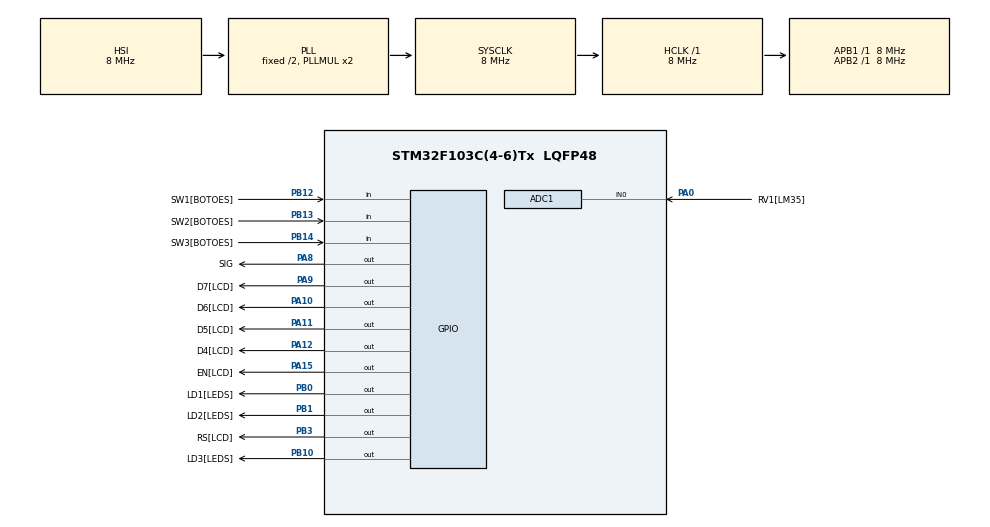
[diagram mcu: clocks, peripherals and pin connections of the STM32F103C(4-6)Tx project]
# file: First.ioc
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ADC1.Channel-5\#ChannelRegularConversion=ADC_CHANNEL_0
ADC1.NbrOfConversionFlag=1
ADC1.Rank-5\#ChannelRegularConversion=1
ADC1.SamplingTime-5\#ChannelRegularConversion=ADC_SAMPLETIME_1CYCLE_5
ADC1.master=1
Mcu.Family=STM32F1
Mcu.Name=STM32F103C(4-6)Tx
Mcu.Package=LQFP48
NVIC.PriorityGroup=NVIC_PRIORITYGROUP_4
PA0-WKUP.GPIO_Label=RV1[LM35]
PA0-WKUP.Signal=ADCx_IN0
PA10.GPIO_Label=D6[LCD]
PA10.Signal=GPIO_Output
PA11.GPIO_Label=D5[LCD]
PA11.Signal=GPIO_Output
PA12.GPIO_Label=D4[LCD]
PA12.Signal=GPIO_Output
PA13.Mode=Serial_Wire
PA13.Signal=SYS_JTMS-SWDIO
PA14.Mode=Serial_Wire
PA14.Signal=SYS_JTCK-SWCLK
PA15.GPIO_Label=EN[LCD]
PA15.Signal=GPIO_Output
PA8.GPIO_Label=SIG
PA8.Signal=GPIO_Output
PA9.GPIO_Label=D7[LCD]
PA9.Signal=GPIO_Output
PB0.GPIO_Label=LD1[LEDS]
PB0.Signal=GPIO_Output
PB1.GPIO_Label=LD2[LEDS]
PB1.Signal=GPIO_Output
PB10.GPIO_Label=LD3[LEDS]
PB10.Signal=GPIO_Output
PB12.GPIO_Label=SW1[BOTOES]
PB12.GPIO_PuPd=GPIO_PULLUP
PB12.Signal=GPIO_Input
PB13.GPIO_Label=SW2[BOTOES]
PB13.GPIO_PuPd=GPIO_PULLUP
PB13.Signal=GPIO_Input
PB14.GPIO_Label=SW3[BOTOES]
PB14.GPIO_PuPd=GPIO_PULLUP
PB14.Signal=GPIO_Input
PB3.GPIO_Label=RS[LCD]
PB3.Signal=GPIO_Output
ProjectManager.HeapSize=0x200
ProjectManager.StackSize=0x400
ProjectManager.TargetToolchain=TrueSTUDIO
RCC.AHBFreq_Value=8000000
RCC.APB1Freq_Value=8000000
RCC.APB1TimFreq_Value=8000000
RCC.APB2Freq_Value=8000000
RCC.APB2TimFreq_Value=8000000
RCC.HCLKFreq_Value=8000000
RCC.SYSCLKFreq_VALUE=8000000
RCC.SYSCLKSource=RCC_SYSCLKSOURCE_PLLCLK
RCC.USBFreq_Value=8000000
SH.ADCx_IN0.0=ADC1_IN0,IN0
TIM2.Period=499
TIM2.Prescaler=399
VP_TIM2_VS_ClockSourceINT.Mode=Internal
board=First

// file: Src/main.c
/**
  ******************************************************************************
  * @file           : main.c
  * @brief          : Main program body
  ******************************************************************************
  ** This notice applies to any and all portions of this file
  * that are not between comment pairs USER CODE BEGIN and
  * USER CODE END. Other portions of this file, whether
  * inserted by the user or by software development tools
  * are owned by their respective copyright owners.
  *
  * COPYRIGHT(c) 2018 STMicroelectronics
  *
  * Redistribution and use in source and binary forms, with or without modification,
  * are permitted provided that the following conditions are met:
  *   1. Redistributions of source code must retain the above copyright notice,
  *      this list of conditions and the following disclaimer.
  *   2. Redistributions in binary form must reproduce the above copyright notice,
  *      this list of conditions and the following disclaimer in the documentation
  *      and/or other materials provided with the distribution.
  *   3. Neither the name of STMicroelectronics nor the names of its contributors
  *      may be used to endorse or promote products derived from this software
  *      without specific prior written permission.
  *
  * THIS SOFTWARE IS PROVIDED BY THE COPYRIGHT HOLDERS AND CONTRIBUTORS "AS IS"
  * AND ANY EXPRESS OR IMPLIED WARRANTIES, INCLUDING, BUT NOT LIMITED TO, THE
  * IMPLIED WARRANTIES OF MERCHANTABILITY AND FITNESS FOR A PARTICULAR PURPOSE ARE
  * DISCLAIMED. IN NO EVENT SHALL THE COPYRIGHT HOLDER OR CONTRIBUTORS BE LIABLE
  * FOR ANY DIRECT, INDIRECT, INCIDENTAL, SPECIAL, EXEMPLARY, OR CONSEQUENTIAL
  * DAMAGES (INCLUDING, BUT NOT LIMITED TO, PROCUREMENT OF SUBSTITUTE GOODS OR
  * SERVICES; LOSS OF USE, DATA, OR PROFITS; OR BUSINESS INTERRUPTION) HOWEVER
  * CAUSED AND ON ANY THEORY OF LIABILITY, WHETHER IN CONTRACT, STRICT LIABILITY,
  * OR TORT (INCLUDING NEGLIGENCE OR OTHERWISE) ARISING IN ANY WAY OUT OF THE USE
  * OF THIS SOFTWARE, EVEN IF ADVISED OF THE POSSIBILITY OF SUCH DAMAGE.
  *
  ******************************************************************************
  */
#include "main.h"
#include "stm32f1xx_hal.h"

/* USER CODE BEGIN Includes */

#include "stdio.h"

/* USER CODE END Includes */

ADC_HandleTypeDef hadc1;

TIM_HandleTypeDef htim2;

/* USER CODE BEGIN PV */
/* Private variables ---------------------------------------------------------*/

/* USER CODE END PV */

void SystemClock_Config(void);
static void MX_GPIO_Init(void);
static void MX_ADC1_Init(void);
static void MX_TIM2_Init(void);

/* USER CODE BEGIN PFP */
/* Private function prototypes -----------------------------------------------*/

/* USER CODE END PFP */

/* USER CODE BEGIN 0 */

void write_lcd (uint8_t data, uint8_t cmd_data)
{
	// identifica comando ou dado
	if (cmd_data) HAL_GPIO_WritePin(RS_GPIO_Port, RS_Pin, GPIO_PIN_SET);
	else 					HAL_GPIO_WritePin(RS_GPIO_Port, RS_Pin, GPIO_PIN_RESET);

	// 4 bits high
	if (data & 0x80) HAL_GPIO_WritePin (D7_GPIO_Port, D7_Pin, GPIO_PIN_SET);
	else						 HAL_GPIO_WritePin (D7_GPIO_Port, D7_Pin, GPIO_PIN_RESET);
	if (data & 0x40) HAL_GPIO_WritePin (D6_GPIO_Port, D6_Pin, GPIO_PIN_SET);
	else						 HAL_GPIO_WritePin (D6_GPIO_Port, D6_Pin, GPIO_PIN_RESET);
	if (data & 0x20) HAL_GPIO_WritePin (D5_GPIO_Port, D5_Pin, GPIO_PIN_SET);
	else						 HAL_GPIO_WritePin (D5_GPIO_Port, D5_Pin, GPIO_PIN_RESET);
	if (data & 0x10) HAL_GPIO_WritePin (D4_GPIO_Port, D4_Pin, GPIO_PIN_SET);
	else						 HAL_GPIO_WritePin (D4_GPIO_Port, D4_Pin, GPIO_PIN_RESET);

	HAL_GPIO_WritePin(EN_GPIO_Port, EN_Pin, GPIO_PIN_SET);
	HAL_Delay(2);
	HAL_GPIO_WritePin(EN_GPIO_Port, EN_Pin, GPIO_PIN_RESET);

	// 4 bits Low
	if (data & 0x08) HAL_GPIO_WritePin (D7_GPIO_Port, D7_Pin, GPIO_PIN_SET);
	else						 HAL_GPIO_WritePin (D7_GPIO_Port, D7_Pin, GPIO_PIN_RESET);
	if (data & 0x04) HAL_GPIO_WritePin (D6_GPIO_Port, D6_Pin, GPIO_PIN_SET);
	else						 HAL_GPIO_WritePin (D6_GPIO_Port, D6_Pin, GPIO_PIN_RESET);
	if (data & 0x02) HAL_GPIO_WritePin (D5_GPIO_Port, D5_Pin, GPIO_PIN_SET);
	else						 HAL_GPIO_WritePin (D5_GPIO_Port, D5_Pin, GPIO_PIN_RESET);
	if (data & 0x01) HAL_GPIO_WritePin (D4_GPIO_Port, D4_Pin, GPIO_PIN_SET);
	else						 HAL_GPIO_WritePin (D4_GPIO_Port, D4_Pin, GPIO_PIN_RESET);

	HAL_GPIO_WritePin(EN_GPIO_Port, EN_Pin, GPIO_PIN_SET);
	HAL_Delay(2);
	HAL_GPIO_WritePin(EN_GPIO_Port, EN_Pin, GPIO_PIN_RESET);
}

/* init_LCD - Inicializa o display em 4bits */
void init_LCD (void)
{
	write_lcd(0x33, 0);
	write_lcd(0x32, 0);
	write_lcd(0x28, 0);
	write_lcd(0x06, 0);
	write_lcd(0x0C, 0);
	write_lcd(0x01, 0);
}

/* string_lcd - escreve string no LCD */
void string_lcd (char *string)
{
	while(*string) write_lcd(*string++, 1);
}

/* USER CODE END 0 */

int main(void)
{

  /* MCU Configuration----------------------------------------------------------*/

  /* Reset of all peripherals, Initializes the Flash interface and the Systick. */
  HAL_Init();

  /* Configure the system clock */
  SystemClock_Config();

  /* Initialize all configured peripherals */
  MX_GPIO_Init();
  MX_ADC1_Init();
  MX_TIM2_Init();
  /* USER CODE BEGIN 2 */

  write_lcd(0x01,0);
  write_lcd(0x80,0);
  string_lcd("LNNANO");
  write_lcd(0xC0,0);
  string_lcd("DSF");
  HAL_GPIO_WritePin(LD1_GPIO_Port,LD1_Pin, GPIO_PIN_SET);

  /* USER CODE END 2 */

  /* Infinite loop */
  while (1)
  {

  }

}

void SystemClock_Config(void)
{

  RCC_OscInitTypeDef RCC_OscInitStruct;
  RCC_ClkInitTypeDef RCC_ClkInitStruct;
  RCC_PeriphCLKInitTypeDef PeriphClkInit;

    /**Initializes the CPU, AHB and APB busses clocks
    */
  RCC_OscInitStruct.OscillatorType = RCC_OSCILLATORTYPE_HSI;
  RCC_OscInitStruct.HSIState = RCC_HSI_ON;
  RCC_OscInitStruct.HSICalibrationValue = 16;
  RCC_OscInitStruct.PLL.PLLState = RCC_PLL_ON;
  RCC_OscInitStruct.PLL.PLLSource = RCC_PLLSOURCE_HSI_DIV2;
  RCC_OscInitStruct.PLL.PLLMUL = RCC_PLL_MUL2;
  if (HAL_RCC_OscConfig(&RCC_OscInitStruct) != HAL_OK)
  {
    _Error_Handler(__FILE__, __LINE__);
  }

    /**Initializes the CPU, AHB and APB busses clocks
    */
  RCC_ClkInitStruct.ClockType = RCC_CLOCKTYPE_HCLK|RCC_CLOCKTYPE_SYSCLK
                              |RCC_CLOCKTYPE_PCLK1|RCC_CLOCKTYPE_PCLK2;
  RCC_ClkInitStruct.SYSCLKSource = RCC_SYSCLKSOURCE_PLLCLK;
  RCC_ClkInitStruct.AHBCLKDivider = RCC_SYSCLK_DIV1;
  RCC_ClkInitStruct.APB1CLKDivider = RCC_HCLK_DIV1;
  RCC_ClkInitStruct.APB2CLKDivider = RCC_HCLK_DIV1;

  if (HAL_RCC_ClockConfig(&RCC_ClkInitStruct, FLASH_LATENCY_0) != HAL_OK)
  {
    _Error_Handler(__FILE__, __LINE__);
  }

  PeriphClkInit.PeriphClockSelection = RCC_PERIPHCLK_ADC;
  PeriphClkInit.AdcClockSelection = RCC_ADCPCLK2_DIV2;
  if (HAL_RCCEx_PeriphCLKConfig(&PeriphClkInit) != HAL_OK)
  {
    _Error_Handler(__FILE__, __LINE__);
  }

    /**Configure the Systick interrupt time
    */
  HAL_SYSTICK_Config(HAL_RCC_GetHCLKFreq()/1000);

    /**Configure the Systick
    */
  HAL_SYSTICK_CLKSourceConfig(SYSTICK_CLKSOURCE_HCLK);

  /* SysTick_IRQn interrupt configuration */
  HAL_NVIC_SetPriority(SysTick_IRQn, 0, 0);
}

/* ADC1 init function */
static void MX_ADC1_Init(void)
{

  ADC_ChannelConfTypeDef sConfig;

    /**Common config
    */
  hadc1.Instance = ADC1;
  hadc1.Init.ScanConvMode = ADC_SCAN_DISABLE;
  hadc1.Init.ContinuousConvMode = DISABLE;
  hadc1.Init.DiscontinuousConvMode = DISABLE;
  hadc1.Init.ExternalTrigConv = ADC_SOFTWARE_START;
  hadc1.Init.DataAlign = ADC_DATAALIGN_RIGHT;
  hadc1.Init.NbrOfConversion = 1;
  if (HAL_ADC_Init(&hadc1) != HAL_OK)
  {
    _Error_Handler(__FILE__, __LINE__);
  }

    /**Configure Regular Channel
    */
  sConfig.Channel = ADC_CHANNEL_0;
  sConfig.Rank = ADC_REGULAR_RANK_1;
  sConfig.SamplingTime = ADC_SAMPLETIME_1CYCLE_5;
  if (HAL_ADC_ConfigChannel(&hadc1, &sConfig) != HAL_OK)
  {
    _Error_Handler(__FILE__, __LINE__);
  }

}

/* TIM2 init function */
static void MX_TIM2_Init(void)
{

  TIM_ClockConfigTypeDef sClockSourceConfig;
  TIM_MasterConfigTypeDef sMasterConfig;

  htim2.Instance = TIM2;
  htim2.Init.Prescaler = 399;
  htim2.Init.CounterMode = TIM_COUNTERMODE_UP;
  htim2.Init.Period = 499;
  htim2.Init.ClockDivision = TIM_CLOCKDIVISION_DIV1;
  htim2.Init.AutoReloadPreload = TIM_AUTORELOAD_PRELOAD_DISABLE;
  if (HAL_TIM_Base_Init(&htim2) != HAL_OK)
  {
    _Error_Handler(__FILE__, __LINE__);
  }

  sClockSourceConfig.ClockSource = TIM_CLOCKSOURCE_INTERNAL;
  if (HAL_TIM_ConfigClockSource(&htim2, &sClockSourceConfig) != HAL_OK)
  {
    _Error_Handler(__FILE__, __LINE__);
  }

  sMasterConfig.MasterOutputTrigger = TIM_TRGO_RESET;
  sMasterConfig.MasterSlaveMode = TIM_MASTERSLAVEMODE_DISABLE;
  if (HAL_TIMEx_MasterConfigSynchronization(&htim2, &sMasterConfig) != HAL_OK)
  {
    _Error_Handler(__FILE__, __LINE__);
  }

}

/** Configure pins as
        * Analog
        * Input
        * Output
        * EVENT_OUT
        * EXTI
*/
static void MX_GPIO_Init(void)
{

  GPIO_InitTypeDef GPIO_InitStruct;

  /* GPIO Ports Clock Enable */
  __HAL_RCC_GPIOA_CLK_ENABLE();
  __HAL_RCC_GPIOB_CLK_ENABLE();

  /*Configure GPIO pin Output Level */
  HAL_GPIO_WritePin(GPIOB, LD1_Pin|LD2_Pin|LD3_Pin|RS_Pin, GPIO_PIN_RESET);

  /*Configure GPIO pin Output Level */
  HAL_GPIO_WritePin(GPIOA, SIG_Pin|D7_Pin|D6_Pin|D5_Pin
                          |D4_Pin|EN_Pin, GPIO_PIN_RESET);

  /*Configure GPIO pins : LD1_Pin LD2_Pin LD3_Pin RS_Pin */
  GPIO_InitStruct.Pin = LD1_Pin|LD2_Pin|LD3_Pin|RS_Pin;
  GPIO_InitStruct.Mode = GPIO_MODE_OUTPUT_PP;
  GPIO_InitStruct.Speed = GPIO_SPEED_FREQ_LOW;
  HAL_GPIO_Init(GPIOB, &GPIO_InitStruct);

  /*Configure GPIO pins : SW1_Pin SW2_Pin SW3_Pin */
  GPIO_InitStruct.Pin = SW1_Pin|SW2_Pin|SW3_Pin;
  GPIO_InitStruct.Mode = GPIO_MODE_INPUT;
  GPIO_InitStruct.Pull = GPIO_PULLUP;
  HAL_GPIO_Init(GPIOB, &GPIO_InitStruct);

  /*Configure GPIO pins : SIG_Pin D7_Pin D6_Pin D5_Pin
                           D4_Pin EN_Pin */
  GPIO_InitStruct.Pin = SIG_Pin|D7_Pin|D6_Pin|D5_Pin
                          |D4_Pin|EN_Pin;
  GPIO_InitStruct.Mode = GPIO_MODE_OUTPUT_PP;
  GPIO_InitStruct.Speed = GPIO_SPEED_FREQ_LOW;
  HAL_GPIO_Init(GPIOA, &GPIO_InitStruct);

}

void _Error_Handler(char *file, int line)
{
  while(1)
  {
  }
}

/************************ (C) COPYRIGHT STMicroelectronics *****END OF FILE****/
